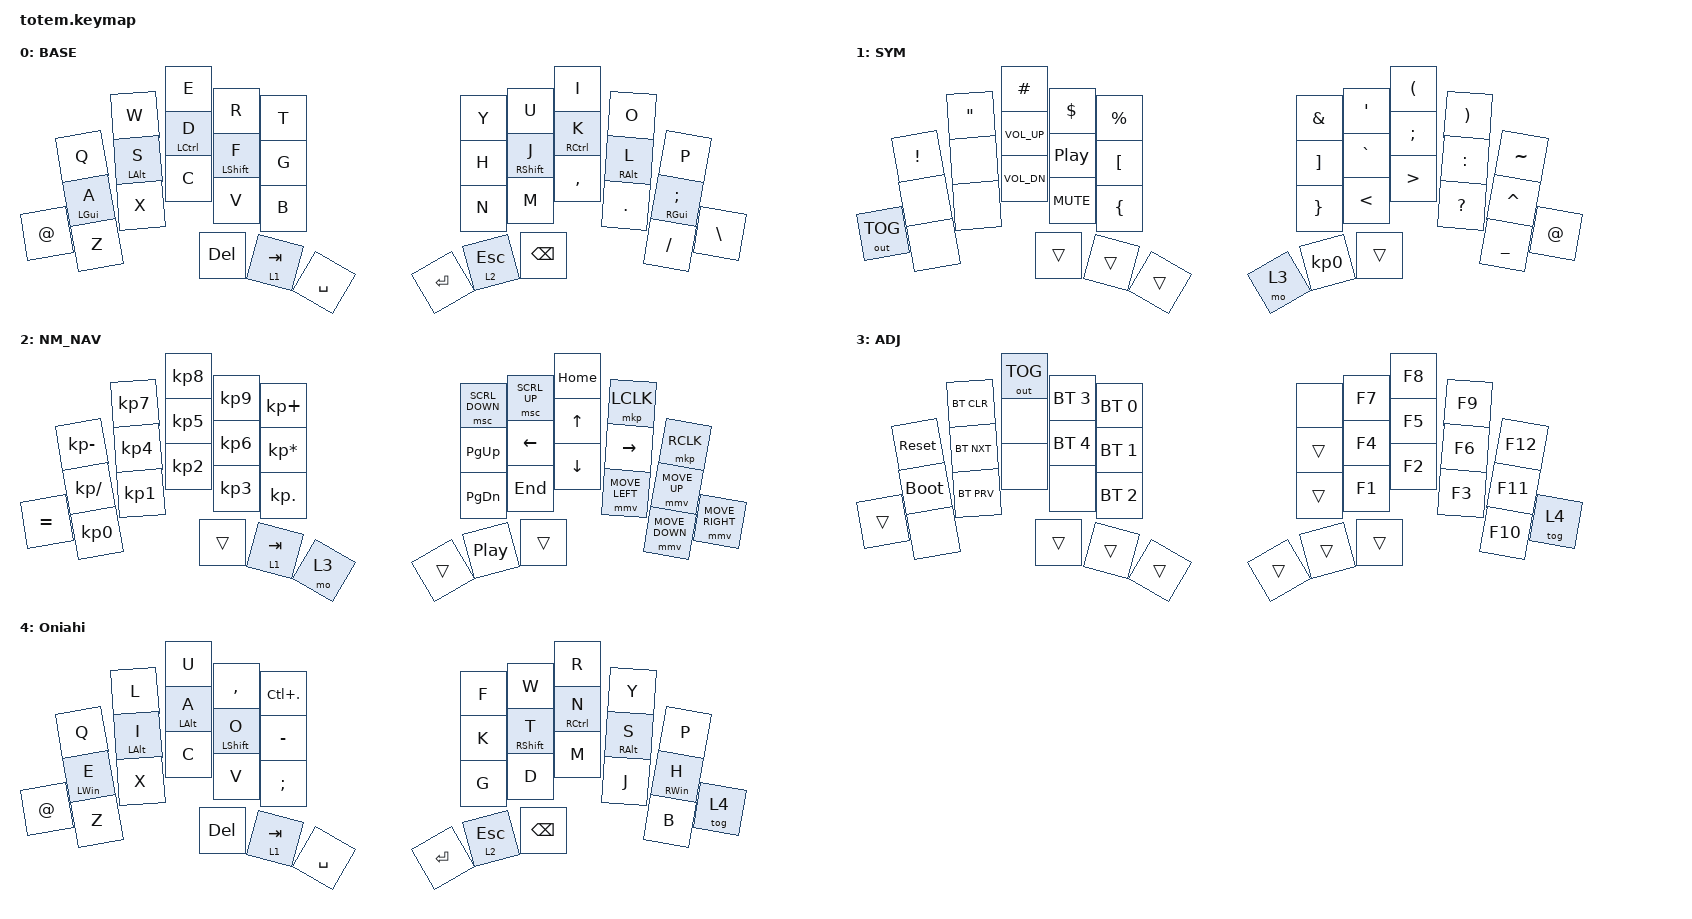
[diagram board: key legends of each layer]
//
//                                                        ▀▀▀▀▀     ▀▀▀▀▀          ▀▀█▀▀
//                                                        ▄▀▀▀▄  ▄  ▄▀▀▀▄  ▄  ▄▀▀▀▄  █  ▄▀▀▀▄
//                                                        █   █  █  █   █  █  █   █  █  █   █
//                                                         ▀▀▀   █   ▀▀▀   █   ▀▀▀   ▀   ▀▀▀
//                                                               █      ▄▄▄█▄▄▄    █   █  
//                                                               ▀      █  █  █     █▄█
//                                                             ▀▀▀▀▀    █  █  █      ▀
//                                                                      ▀  ▀  ▀
//
// ▄▄▄▄▄▄▄▄▄▄▄▄▄▄▄▄▄▄▄▄▄▄▄▄▄▄▄▄▄▄▄▄▄▄▄▄▄▄▄▄▄▄▄▄▄▄▄▄▄▄▄▄▄▄▄▄▄▄▄▄▄▄▄▄▄▄▄▄▄▄▄▄▄▄▄▄▄▄▄▄▄▄▄▄▄▄▄▄▄▄▄▄▄▄▄▄▄▄▄▄▄▄▄▄▄▄▄▄▄▄▄▄▄▄▄▄▄▄▄▄▄▄▄▄▄▄▄▄▄▄▄▄▄▄▄▄▄▄▄▄▄▄▄▄▄▄▄▄▄

#include <behaviors.dtsi>
#include <dt-bindings/zmk/bt.h>
#include <dt-bindings/zmk/keys.h>
#include <dt-bindings/zmk/outputs.h>
#include <dt-bindings/zmk/pointing.h>

#define BASE 0
#define NAV  1
#define SYM  2
#define ADJ  3
#define TVP1 4
#define TVP2 5

&mt {
    quick-tap-ms = <150>;
    global-quick-tap;
    flavor = "tap-preferred";
    tapping-term-ms = <220>;
};

/ {
    combos {
        compatible = "zmk,combos";

        combo_esc {
            timeout-ms = <50>;
            key-positions = <0 1>;
            bindings = <&kp ESC>;
        };

        combo_tvp {
            timeout-ms = <100>;
            key-positions = <11 12 13>;
            bindings = <&tog 4>;
        };

        ZenHan {
            bindings = <&kp LANG_ZENKAKUHANKAKU>;
            key-positions = <12 13>;
        };
    };

    keymap {
        compatible = "zmk,keymap";

        base_layer {
            label = "BASE";
            bindings = <
             &kp Q       &kp W       &kp E        &kp R        &kp T        &kp Y    &kp U        &kp I        &kp O       &kp P
             &mt LGUI A  &mt LALT S  &mt LCTRL D  &mt LSHFT F  &kp G        &kp H    &mt RSHFT J  &mt RCTRL K  &mt RALT L  &mt RGUI SEMI
&kp AT_SIGN  &kp Z       &kp X       &kp C        &kp V        &kp B        &kp N    &kp M        &kp COMMA    &kp DOT     &kp FSLH       &kp BSLH
                                     &kp DEL      &lt 1 TAB    &kp SPACE    &kp RET  &lt 2 ESC    &kp BSPC
            >;
        };

        symbols {
            label = "SYM";
            bindings = <
              &kp EXCLAMATION  &kp DOUBLE_QUOTES  &kp HASH         &kp DOLLAR  &kp PERCENT       &kp AMPERSAND    &kp SQT        &kp LEFT_PARENTHESIS  &kp RIGHT_PARENTHESIS  &kp TILDE
              &none            &none              &kp C_VOLUME_UP  &kp C_PP    &kp LBKT          &kp RBKT         &kp GRAVE      &kp SEMICOLON         &kp COLON              &kp CARET
&out OUT_TOG  &none            &none              &kp C_VOL_DN     &kp K_MUTE  &kp LEFT_BRACE    &kp RIGHT_BRACE  &kp LESS_THAN  &kp GREATER_THAN      &kp QUESTION           &kp UNDERSCORE  &kp AT_SIGN
                                                  &trans           &trans      &trans            &mo 3            &kp KP_N0      &trans
            >;
        };

        num_and_nav_layer {
            label = "NM_NAV";
            bindings = <
           &kp KP_MINUS   &kp KP_N7  &kp KP_N8  &kp KP_N9  &kp KP_PLUS        &msc SCRL_DOWN  &msc SCRL_UP  &kp HOME      &mkp LCLK       &mkp RCLK
           &kp KP_DIVIDE  &kp KP_N4  &kp KP_N5  &kp KP_N6  &kp KP_MULTIPLY    &kp PAGE_UP     &kp LEFT      &kp UP_ARROW  &kp RIGHT       &mmv MOVE_UP
&kp EQUAL  &kp KP_N0      &kp KP_N1  &kp KP_N2  &kp KP_N3  &kp KP_DOT         &kp PAGE_DOWN   &kp END       &kp DOWN      &mmv MOVE_LEFT  &mmv MOVE_DOWN  &mmv MOVE_RIGHT
                                     &trans     &lt 1 TAB  &mo 3              &trans          &kp C_PP      &trans
            >;
        };

        adjust_layer {
            label = "ADJ";
            bindings = <
        &sys_reset   &bt BT_CLR  &out OUT_TOG  &bt BT_SEL 3  &bt BT_SEL 0    &none   &kp F7  &kp F8  &kp F9  &kp F12
        &bootloader  &bt BT_NXT  &none         &bt BT_SEL 4  &bt BT_SEL 1    &trans  &kp F4  &kp F5  &kp F6  &kp F11
&trans  &none        &bt BT_PRV  &none         &none         &bt BT_SEL 2    &trans  &kp F1  &kp F2  &kp F3  &kp F10  &tog 4
                                 &trans        &trans        &trans          &trans  &trans  &trans
            >;
        };

        oonishi_layer {
            label = "Oniahi";
            bindings = <
             &kp Q           &kp L           &kp U       &kp COMMA    &kp LC(DOT)    &kp F      &kp W         &kp R        &kp Y            &kp P
             &mt LEFT_WIN E  &mt LEFT_ALT I  &mt LALT A  &mt LSHFT O  &kp MINUS      &kp K      &mt RSHFT T   &mt RCTRL N  &mt RIGHT_ALT S  &mt RIGHT_WIN H
&kp AT_SIGN  &kp Z           &kp X           &kp C       &kp V        &kp SEMI       &kp G      &kp D         &kp M        &kp J            &kp B            &tog 4
                                             &kp DEL     &lt 1 TAB    &kp SPACE      &kp ENTER  &lt 2 ESCAPE  &kp BSPC
            >;
        };
    };
};
